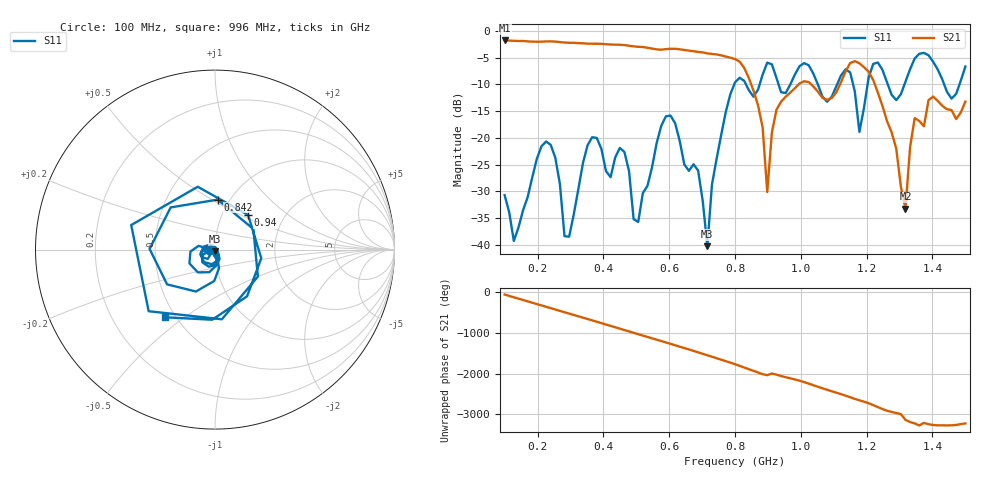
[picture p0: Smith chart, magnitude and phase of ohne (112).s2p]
! NanoVNA-App
! Date: 2025-09-25 17:39:09
! Start: 100MHz Stop: 1,5GHz Points: 101
! S-Parameter data: F S11 S21 S12 S22
# Hz S RI R 50
!  Frequency  S11_Real  S11_Imag  S21_Real  S21_Imag  S12_Real  S12_Imag  S22_Real  S22_Imag
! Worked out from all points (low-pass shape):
!   101 points, 100 MHz to 1.5 GHz, reference 50 ohm
!   highest |S21| = -1.80 dB at 100 MHz (marker M1); lowest = -33.2 dB at 1.318 GHz (marker M2)
!   |S21| within 3 dB of the highest: start of sweep to 771.7 MHz
!   lowest |S11| = -40.2 dB at 716 MHz (marker M3), VSWR 1.02, Z = 49.8 - j0.953 ohm
!   |S11| at or under -10 dB: start of sweep to 797.7 MHz; 833.2 MHz to 874.9 MHz (41.68 MHz wide, 4.88 % of centre); 1.052 GHz to 1.11 GHz (58.71 MHz wide, 5.43 % of centre)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
!   S12 and S22 are empty: the file has one direction only
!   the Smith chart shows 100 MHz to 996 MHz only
!   S11 on the Smith chart (normalised r, x): 100 MHz: 0.94, -0.01; 842 MHz: 0.88, +0.53; 940 MHz: 1.32, +0.55; 996 MHz: 0.44, -0.43
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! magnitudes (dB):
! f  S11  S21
! 100 MHz  -30.7  -1.8
! 128 MHz  -39.3  -1.9
! 226 MHz  -20.7  -2.0
! 296 MHz  -38.5  -2.2
! 338 MHz  -24.7  -2.3
! 464 MHz  -22.6  -2.7
! 506 MHz  -35.7  -3.0
! 576 MHz  -17.7  -3.5
! 688 MHz  -26.1  -3.9
! 716 MHz  -40.2  -4.2
! 800 MHz  -9.6  -5.3
! 842 MHz  -11.1  -8.8
! 898 MHz  -5.9  -30.1
! 940 MHz  -11.5  -13.2
! 996 MHz  -6.6  -9.8
! 1.038 GHz  -8.0  -10.4
! 1.178 GHz  -18.9  -6.1
! 1.22 GHz  -6.2  -9.2
! 1.276 GHz  -12.0  -19.0
! 1.318 GHz  -9.5  -33.2
! 1.346 GHz  -5.2  -16.3
! 1.5 GHz  -6.7  -13.2
